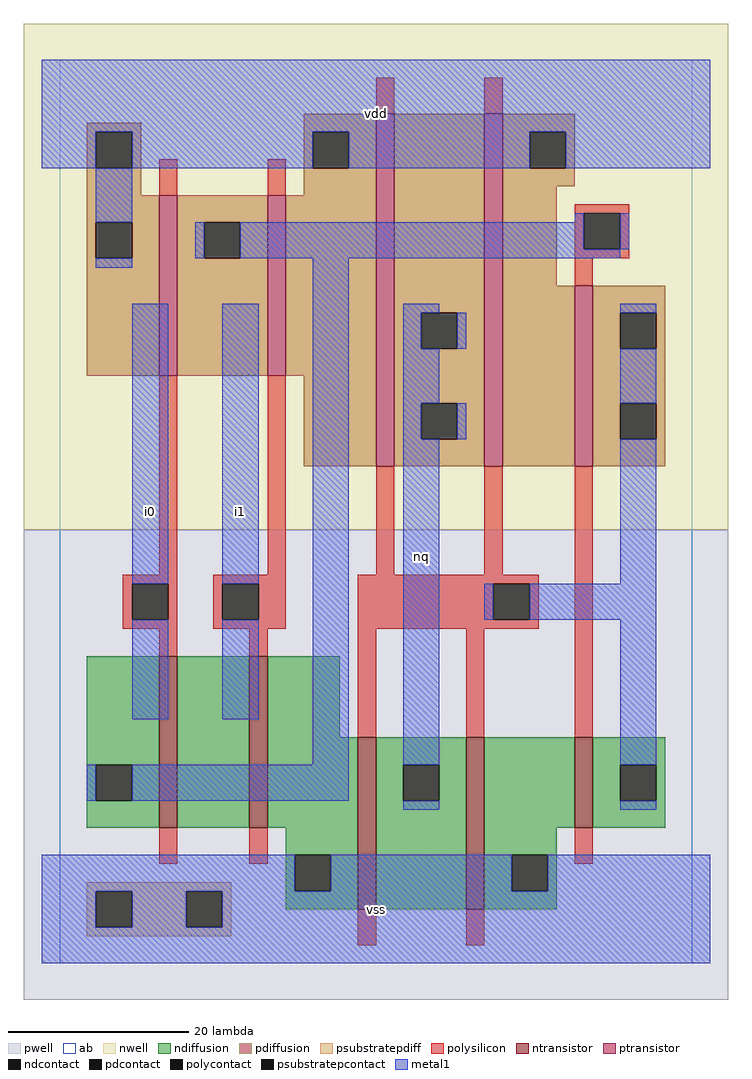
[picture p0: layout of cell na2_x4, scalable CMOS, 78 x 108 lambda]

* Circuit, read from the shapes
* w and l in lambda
.subckt na2_x4 i0 i1 nq vdd vss
M1 n1 i0 n2 vss nfet w=19 l=2
M2 vss i1 n1 vss nfet w=19 l=2
M3 nq n3 vss vss nfet w=19 l=2 m=2
M4 n3 n2 vss vss nfet w=10 l=2
M5 n2 i0 vdd n4 pfet w=20 l=2
M6 vdd i1 n2 n4 pfet w=20 l=2
M7 nq n3 vdd n4 pfet w=39 l=2 m=2
M8 n3 n2 vdd n4 pfet w=20 l=2
.ends

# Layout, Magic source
magic
tech scmos
<< ab >>
rect 0 0 70 100
<< pwell >>
rect -4 -4 74 48
<< nwell >>
rect -4 48 74 104
<< polysilicon >>
rect 35 94 37 98
rect 47 94 49 98
rect 11 85 13 89
rect 23 85 25 89
rect 11 43 13 65
rect 23 43 25 65
rect 57 83 63 84
rect 57 79 58 83
rect 62 79 63 83
rect 57 78 63 79
rect 57 75 59 78
rect 35 43 37 55
rect 47 43 49 55
rect 7 42 13 43
rect 7 38 8 42
rect 12 38 13 42
rect 7 37 13 38
rect 17 42 25 43
rect 17 38 18 42
rect 22 38 25 42
rect 17 37 25 38
rect 33 42 53 43
rect 33 38 48 42
rect 52 38 53 42
rect 33 37 53 38
rect 11 34 13 37
rect 21 34 23 37
rect 33 25 35 37
rect 45 25 47 37
rect 57 25 59 55
rect 11 11 13 15
rect 21 11 23 15
rect 57 11 59 15
rect 33 2 35 6
rect 45 2 47 6
<< ndiffusion >>
rect 3 22 11 34
rect 3 18 4 22
rect 8 18 11 22
rect 3 15 11 18
rect 13 15 21 34
rect 23 25 31 34
rect 23 15 33 25
rect 25 12 33 15
rect 25 8 26 12
rect 30 8 33 12
rect 25 6 33 8
rect 35 22 45 25
rect 35 18 38 22
rect 42 18 45 22
rect 35 6 45 18
rect 47 15 57 25
rect 59 22 67 25
rect 59 18 62 22
rect 66 18 67 22
rect 59 15 67 18
rect 47 12 55 15
rect 47 8 50 12
rect 54 8 55 12
rect 47 6 55 8
<< pdiffusion >>
rect 3 92 9 93
rect 3 88 4 92
rect 8 88 9 92
rect 27 92 35 94
rect 3 85 9 88
rect 27 88 28 92
rect 32 88 35 92
rect 27 85 35 88
rect 3 82 11 85
rect 3 78 4 82
rect 8 78 11 82
rect 3 65 11 78
rect 13 82 23 85
rect 13 78 16 82
rect 20 78 23 82
rect 13 65 23 78
rect 25 65 35 85
rect 27 55 35 65
rect 37 72 47 94
rect 37 68 40 72
rect 44 68 47 72
rect 37 62 47 68
rect 37 58 40 62
rect 44 58 47 62
rect 37 55 47 58
rect 49 92 57 94
rect 49 88 52 92
rect 56 88 57 92
rect 49 86 57 88
rect 49 75 55 86
rect 49 55 57 75
rect 59 72 67 75
rect 59 68 62 72
rect 66 68 67 72
rect 59 62 67 68
rect 59 58 62 62
rect 66 58 67 62
rect 59 55 67 58
<< metal1 >>
rect -2 92 72 100
rect -2 88 4 92
rect 8 88 28 92
rect 32 88 52 92
rect 56 88 72 92
rect 4 82 8 88
rect 57 82 58 83
rect 15 78 16 82
rect 20 79 58 82
rect 62 79 63 83
rect 20 78 62 79
rect 4 77 8 78
rect 8 42 12 73
rect 8 27 12 38
rect 18 42 22 73
rect 18 27 22 38
rect 28 22 32 78
rect 3 18 4 22
rect 8 18 32 22
rect 38 72 42 73
rect 62 72 66 73
rect 38 68 40 72
rect 44 68 45 72
rect 38 62 42 68
rect 62 62 66 68
rect 38 58 40 62
rect 44 58 45 62
rect 38 22 42 58
rect 62 42 66 58
rect 47 38 48 42
rect 52 38 66 42
rect 38 17 42 18
rect 62 22 66 38
rect 62 17 66 18
rect -2 8 26 12
rect 30 8 50 12
rect 54 8 72 12
rect -2 4 4 8
rect 8 4 14 8
rect 18 4 72 8
rect -2 0 72 4
<< ntransistor >>
rect 11 15 13 34
rect 21 15 23 34
rect 33 6 35 25
rect 45 6 47 25
rect 57 15 59 25
<< ptransistor >>
rect 11 65 13 85
rect 23 65 25 85
rect 35 55 37 94
rect 47 55 49 94
rect 57 55 59 75
<< polycontact >>
rect 58 79 62 83
rect 8 38 12 42
rect 18 38 22 42
rect 48 38 52 42
<< ndcontact >>
rect 4 18 8 22
rect 26 8 30 12
rect 38 18 42 22
rect 62 18 66 22
rect 50 8 54 12
<< pdcontact >>
rect 4 88 8 92
rect 28 88 32 92
rect 4 78 8 82
rect 16 78 20 82
rect 40 68 44 72
rect 40 58 44 62
rect 52 88 56 92
rect 62 68 66 72
rect 62 58 66 62
<< psubstratepcontact >>
rect 4 4 8 8
rect 14 4 18 8
<< psubstratepdiff >>
rect 3 8 19 9
rect 3 4 4 8
rect 8 4 14 8
rect 18 4 19 8
rect 3 3 19 4
<< labels >>
rlabel metal1 10 50 10 50 6 i0
rlabel metal1 20 50 20 50 6 i1
rlabel metal1 35 6 35 6 6 vss
rlabel metal1 40 45 40 45 6 nq
rlabel metal1 35 94 35 94 6 vdd
<< end >>
